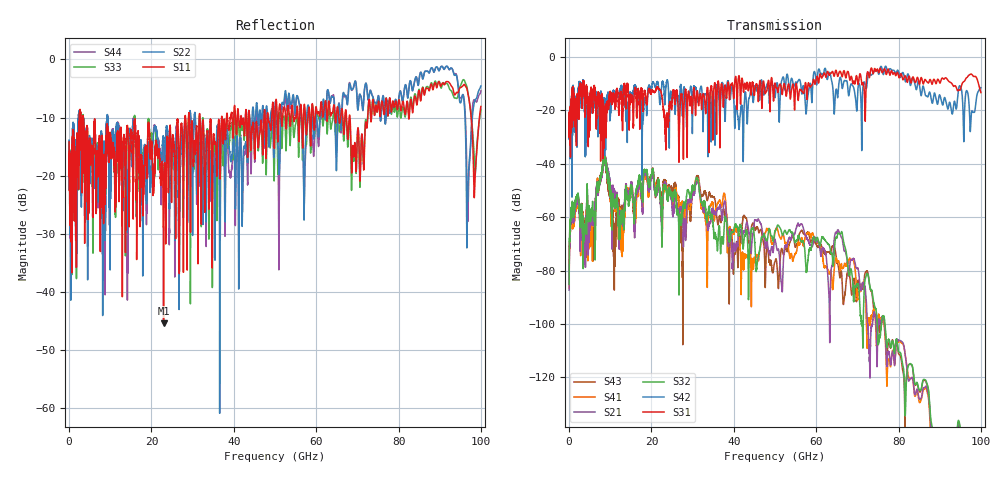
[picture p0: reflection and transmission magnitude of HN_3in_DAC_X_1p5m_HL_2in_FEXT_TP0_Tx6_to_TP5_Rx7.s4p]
# GHz S RI R 45
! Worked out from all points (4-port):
!   4000 points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, 25 MHz to 100 GHz, reference 45 ohm
!   strongest paths, dB at 25 MHz, 25.02 GHz, 50.02 GHz, 75.03 GHz, 100 GHz:
!     S31: -20.8, -17.1, -9.8, -5.2, -13.4
!     S42: -20.8, -16.2, -15.1, -5.7, -11.5
!     S32: -85.2, -52.5, -65.2, -105.8, -180.6
!     S21: -87.3, -56.5, -68.5, -102.0, -179.8
!     S41: -86.5, -53.6, -65.4, -98.0, -188.9
!     S43: -82.5, -50.7, -76.7, -100.3, -189.7
!   lowest |S11| = -45.4 dB at 22.95 GHz (marker M1), VSWR 1.01, Z = 45.3 + j0.386 ohm
!   |S11| at or under -10 dB: 3.402 GHz to 28.14 GHz (24.73 GHz wide, 157 % of centre); 31.81 GHz to 37.04 GHz (5.23 GHz wide, 15.2 % of centre); 68.23 GHz to 72.51 GHz (4.286 GHz wide, 6.09 % of centre)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
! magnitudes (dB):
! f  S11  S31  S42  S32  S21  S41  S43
! 25 MHz  -14.2  -20.8  -20.8  -85.2  -87.3  -86.5  -82.5
! 8.6 GHz  -17.5  -24.2  -20.4  -37.1  -37.0  -37.1  -37.6
! 11.05 GHz  -18.7  -17.4  -13.0  -53.8  -49.8  -52.7  -67.8
! 22.95 GHz  -45.4  -19.9  -10.3  -49.1  -48.7  -50.2  -46.6
! 49.27 GHz  -9.2  -8.3  -10.2  -67.3  -71.1  -70.0  -79.8
! 96.88 GHz  -5.9  -7.2  -14.0  -152.2  -150.5  -157.7  -159.2
! 100 GHz  -8.1  -13.4  -11.5  -180.6  -179.8  -188.9  -189.7
